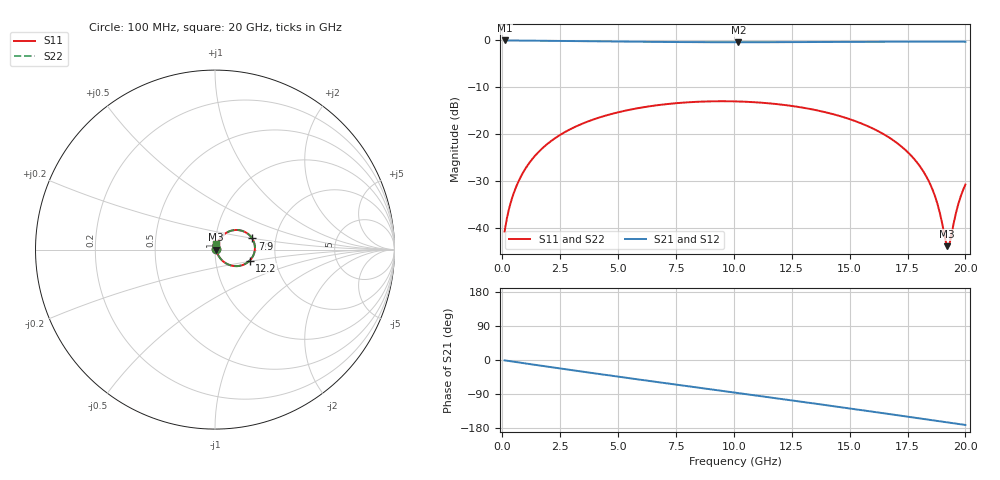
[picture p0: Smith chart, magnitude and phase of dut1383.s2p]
! Touchstone file exported from HFSS 2026.1.0
!  File:  C:/ffzhzh/LocalFiles/Ansys_Project_Files/temp_train_TSV_RDL_1383_1783348653_4416.aedt
!  Generated:  10:46:23 PM Jul  6, 2026
!  Design:  TSV_RDL
!  Project:  temp_train_TSV_RDL_1383_1783348653_4416
! Variables:
!  h_bsmrdl = 3.84um
!  h_ox = 20um
!  h_rdl = 5um
!  h_sub = 78.21um
!  h_tmrdl = 5.56um
!  h_tsv = 78.21um
!  h_via = 3um
!  l_bsmrdl = 215.23um
!  l_sub = 2736.43um
!  l_tmrdl = 385.41um
!  m_sub = 200um
!  pitch = 43.53um
!  r_tsv = 14.68um
!  s_tmrdl = 10um
!  w_bsmrdl = 21.92um
!  w_sub = 500um
!  w_tmrdl = 27.78um
!  x_tsv_center1 = 399.3um
!  x_tsv_center2 = 636.45um
!  x_tsv_center3 = 1049.64um
!  x_tsv_center4 = 1286.79um
!  x_tsv_center5 = 1699.98um
!  x_tsv_center6 = 1937.13um
# GHz S MA R 50.000000
! Terminal data exported
! Port[1] = TM_RDL1_1_T1
! Port[2] = TM_RDL5_1_T1
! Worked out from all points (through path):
!   200 points, 100 MHz to 20 GHz, reference 50 ohm
!   highest |S21| = -0.07 dB at 100 MHz (marker M1); lowest = -0.4 dB at 10.2 GHz (marker M2)
!   group delay of S21, straight-line fit = 23.6 ps
!   lowest |S11| = -44.0 dB at 19.2 GHz (marker M3), VSWR 1.01, Z = 50.6 - j0.0378 ohm
!   |S11| at or under -10 dB: start of sweep to end of sweep
!   |S22| runs from -43.9 to -13.0 dB; largest |S21 - S12| = 3.8e-13
!   S11 on the Smith chart (normalised r, x): 100 MHz: 1.02, +0.01; 7.9 GHz: 1.51, +0.20; 12.2 GHz: 1.47, -0.19; 20 GHz: 1.01, +0.06
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0.1  0.009075 32.8  0.9924 -1.0  0.9924 -1.0  0.009075 32.8
! Gamma 0 0 0 0
! Port Impedance 50 0 50 0
0.3  0.01619 54.3  0.9911 -2.8  0.9911 -2.8  0.01619 54.3
0.5  0.02352 61.7  0.9904 -4.6  0.9904 -4.6  0.02352 61.7
0.8  0.03489 65.8  0.9893 -7.3  0.9893 -7.3  0.03489 65.8
1.2  0.05023 66.5  0.9878 -10.8  0.9878 -10.8  0.05023 66.5
2.2  0.08711 61.5  0.9828 -19.7  0.9828 -19.7  0.08711 61.5
3.5  0.1297 51.8  0.975 -31.1  0.975 -31.1  0.1297 51.8
6.8  0.2036 25.5  0.9569 -59.1  0.9569 -59.1  0.2036 25.5
7.9  0.2161 16.8  0.953 -68.3  0.953 -68.3  0.2161 16.8
10.1  0.2219 -0.7  0.9497 -86.5  0.9497 -86.5  0.2219 -0.7
10.2  0.2215 -1.5  0.9497 -87.4  0.9497 -87.4  0.2215 -1.5
12.2  0.2031 -17.4  0.9517 -104.1  0.9517 -104.1  0.2031 -17.4
13.4  0.1821 -27.1  0.9545 -114.2  0.9545 -114.2  0.1821 -27.0
15.2  0.138 -41.4  0.9592 -129.6  0.9592 -129.6  0.138 -41.4
16.7  0.09155 -52.7  0.9624 -142.5  0.9624 -142.5  0.09153 -52.7
17.6  0.06059 -58.4  0.9634 -150.4  0.9634 -150.4  0.06057 -58.4
18.3  0.03553 -60.3  0.9635 -156.5  0.9635 -156.5  0.03552 -60.2
18.8  0.01766 -54.3  0.9632 -160.9  0.9632 -160.9  0.01766 -53.9
19.2  0.006327 -3.4  0.9627 -164.4  0.9627 -164.4  0.006415 -2.9
19.3  0.006428 29.7  0.9626 -165.3  0.9626 -165.3  0.006531 29.7
19.6  0.01456 74.0  0.962 -167.9  0.962 -167.9  0.01463 73.6
20  0.02877 83.0  0.9611 -171.4  0.9611 -171.4  0.02882 82.8
